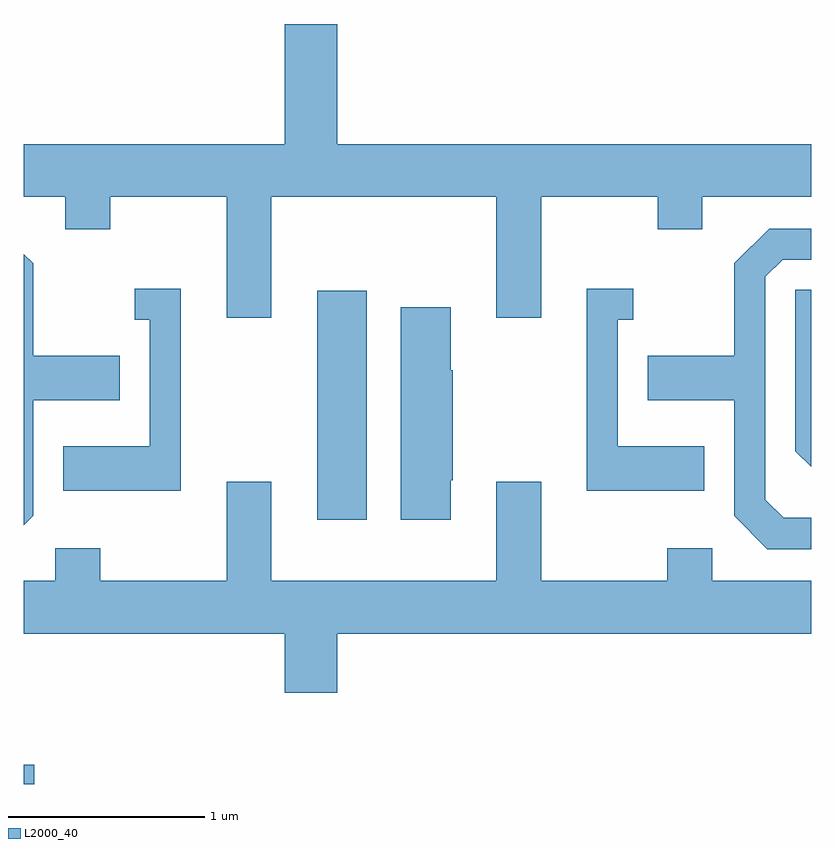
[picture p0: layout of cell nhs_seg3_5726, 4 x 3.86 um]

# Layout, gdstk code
import gdstk
lib = gdstk.Library(unit=1e-6, precision=1e-09)
def R(c, l, rs):  # rectangles x0, y0, x1, y1
    for r in rs: c.add(gdstk.rectangle(r[:2], r[2:], *l))
def P(c, l, *ps):  # polygons
    for p in ps: c.add(gdstk.Polygon(p, *l))
L2000_40 = (2000, 40)

nhs_seg3_5726 = lib.new_cell('nhs_seg3_5726')
R(nhs_seg3_5726, L2000_40, [(353.611,1151.892,353.664,1151.989), (355.101,1153.236,355.354,1154.399)])
P(nhs_seg3_5726, L2000_40, [(354.869,1154.876),(356.011,1154.876),(356.011,1154.261),(356.239,1154.261),(356.239,1154.876),(356.831,1154.876),(356.831,1154.711),(357.059,1154.711),(357.059,1154.876),(357.611,1154.876),(357.611,1155.144),(355.204,1155.144),(355.204,1155.754),(354.936,1155.754),(354.936,1155.144),(353.611,1155.144),(353.611,1154.876),(353.821,1154.876),(353.821,1154.711),(354.049,1154.711),(354.049,1154.876),(354.641,1154.876),(354.641,1154.261),(354.869,1154.261)],
  [(357.611,1153.244),(357.472,1153.244),(357.379,1153.337),(357.379,1154.469),(357.467,1154.556),(357.611,1154.556),(357.611,1154.714),(357.399,1154.714),(357.221,1154.537),(357.221,1154.069),(356.781,1154.069),(356.781,1153.841),(357.221,1153.841),(357.221,1153.254),(357.389,1153.086),(357.611,1153.086)],
  [(353.659,1153.254),(353.659,1153.841),(354.099,1153.841),(354.099,1154.069),(353.659,1154.069),(353.659,1154.537),(353.611,1154.585),(353.611,1153.206)],
  [(354.409,1154.409),(354.173,1154.409),(354.173,1154.251),(354.251,1154.251),(354.251,1153.609),(353.811,1153.609),(353.811,1153.381),(354.409,1153.381)],
  [(357.069,1153.609),(356.629,1153.609),(356.629,1154.251),(356.708,1154.251),(356.708,1154.409),(356.471,1154.409),(356.471,1153.381),(357.069,1153.381)],
  [(357.611,1154.404),(357.531,1154.404),(357.531,1153.584),(357.611,1153.504)],
  [(355.779,1153.435),(355.789,1153.435),(355.789,1153.995),(355.779,1153.995),(355.779,1154.314),(355.526,1154.314),(355.526,1153.236),(355.779,1153.236)],
  [(355.204,1152.656),(357.611,1152.656),(357.611,1152.924),(357.109,1152.924),(357.109,1153.089),(356.881,1153.089),(356.881,1152.924),(356.239,1152.924),(356.239,1153.429),(356.011,1153.429),(356.011,1152.924),(354.869,1152.924),(354.869,1153.429),(354.641,1153.429),(354.641,1152.924),(353.999,1152.924),(353.999,1153.089),(353.771,1153.089),(353.771,1152.924),(353.611,1152.924),(353.611,1152.656),(354.936,1152.656),(354.936,1152.356),(355.204,1152.356)])

lib.write_gds('nhs_seg3_5726.gds')
